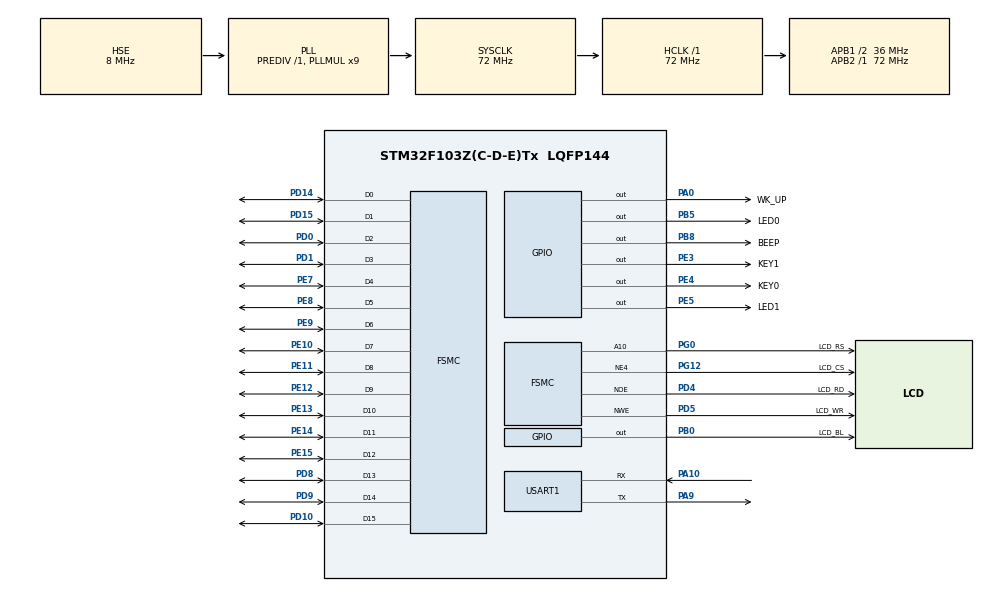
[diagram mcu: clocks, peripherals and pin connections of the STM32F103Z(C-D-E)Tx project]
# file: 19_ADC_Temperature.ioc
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ADC1.Channel-0\#ChannelRegularConversion=ADC_CHANNEL_TEMPSENSOR
ADC1.NbrOfConversionFlag=1
ADC1.Rank-0\#ChannelRegularConversion=1
ADC1.SamplingTime-0\#ChannelRegularConversion=ADC_SAMPLETIME_239CYCLES_5
ADC1.master=1
FSMC.AddressSetupTime1=0
FSMC.BusTurnAroundDuration1=15
FSMC.DataSetupTime1=15
FSMC.ExtendedAddressSetupTime1=0
FSMC.ExtendedDataSetupTime1=1
FSMC.ExtendedMode1=FSMC_EXTENDED_MODE_ENABLE
Mcu.Family=STM32F1
Mcu.Name=STM32F103Z(C-D-E)Tx
Mcu.Package=LQFP144
NVIC.PriorityGroup=NVIC_PRIORITYGROUP_2
NVIC.USART1_IRQn=true\:2\:2\:true\:false\:true\:true\:true\:true
OSC_IN.Mode=HSE-External-Oscillator
OSC_IN.Signal=RCC_OSC_IN
OSC_OUT.Mode=HSE-External-Oscillator
OSC_OUT.Signal=RCC_OSC_OUT
PA0-WKUP.GPIO_Label=WK_UP
PA0-WKUP.GPIO_PuPd=GPIO_PULLDOWN
PA0-WKUP.GPIO_Speed=GPIO_SPEED_FREQ_HIGH
PA0-WKUP.PinState=GPIO_PIN_RESET
PA0-WKUP.Signal=GPIO_Output
PA10.Mode=Asynchronous
PA10.Signal=USART1_RX
PA13.Mode=Serial_Wire
PA13.Signal=SYS_JTMS-SWDIO
PA14.Mode=Serial_Wire
PA14.Signal=SYS_JTCK-SWCLK
PA9.Mode=Asynchronous
PA9.Signal=USART1_TX
PB0.GPIO_Label=LCD_BL
PB0.GPIO_PuPd=GPIO_PULLUP
PB0.GPIO_Speed=GPIO_SPEED_FREQ_HIGH
PB0.PinState=GPIO_PIN_SET
PB0.Signal=GPIO_Output
PB5.GPIO_Label=LED0
PB5.GPIO_PuPd=GPIO_PULLUP
PB5.GPIO_Speed=GPIO_SPEED_FREQ_HIGH
PB5.PinState=GPIO_PIN_SET
PB5.Signal=GPIO_Output
PB8.GPIO_Label=BEEP
PB8.GPIO_ModeDefaultOutputPP=GPIO_MODE_OUTPUT_PP
PB8.GPIO_PuPd=GPIO_PULLDOWN
PB8.GPIO_Speed=GPIO_SPEED_FREQ_HIGH
PB8.PinState=GPIO_PIN_RESET
PB8.Signal=GPIO_Output
PC14-OSC32_IN.Mode=LSE-External-Oscillator
PC14-OSC32_IN.Signal=RCC_OSC32_IN
PC15-OSC32_OUT.Mode=LSE-External-Oscillator
PC15-OSC32_OUT.Signal=RCC_OSC32_OUT
PD0.Signal=FSMC_D2_DA2
PD1.Signal=FSMC_D3_DA3
PD10.Signal=FSMC_D15_DA15
PD14.Signal=FSMC_D0_DA0
PD15.Signal=FSMC_D1_DA1
PD4.GPIO_Label=LCD_RD
PD4.Signal=FSMC_NOE
PD5.GPIO_Label=LCD_WR
PD5.Signal=FSMC_NWE
PD8.Signal=FSMC_D13_DA13
PD9.Signal=FSMC_D14_DA14
PE10.Signal=FSMC_D7_DA7
PE11.Signal=FSMC_D8_DA8
PE12.Signal=FSMC_D9_DA9
PE13.Signal=FSMC_D10_DA10
PE14.Signal=FSMC_D11_DA11
PE15.Signal=FSMC_D12_DA12
PE3.GPIO_Label=KEY1
PE3.GPIO_PuPd=GPIO_PULLUP
PE3.GPIO_Speed=GPIO_SPEED_FREQ_HIGH
PE3.PinState=GPIO_PIN_SET
PE3.Signal=GPIO_Output
PE4.GPIO_Label=KEY0
PE4.GPIO_PuPd=GPIO_PULLUP
PE4.GPIO_Speed=GPIO_SPEED_FREQ_HIGH
PE4.PinState=GPIO_PIN_SET
PE4.Signal=GPIO_Output
PE5.GPIO_Label=LED1
PE5.GPIO_PuPd=GPIO_PULLUP
PE5.GPIO_Speed=GPIO_SPEED_FREQ_HIGH
PE5.PinState=GPIO_PIN_SET
PE5.Signal=GPIO_Output
PE7.Signal=FSMC_D4_DA4
PE8.Signal=FSMC_D5_DA5
PE9.Signal=FSMC_D6_DA6
PG0.GPIO_Label=LCD_RS
PG0.Signal=FSMC_A10
PG12.GPIO_Label=LCD_CS
PG12.Mode=NorPsramChipSelect4_1
PG12.Signal=FSMC_NE4
ProjectManager.HeapSize=0x200
ProjectManager.StackSize=0x400
ProjectManager.TargetToolchain=STM32CubeIDE
RCC.ADCPresc=RCC_ADCPCLK2_DIV6
RCC.AHBFreq_Value=72000000
RCC.APB1CLKDivider=RCC_HCLK_DIV2
RCC.APB1Freq_Value=36000000
RCC.APB1TimFreq_Value=72000000
RCC.APB2Freq_Value=72000000
RCC.APB2TimFreq_Value=72000000
RCC.HCLKFreq_Value=72000000
RCC.PLLMUL=RCC_PLL_MUL9
RCC.PLLSourceVirtual=RCC_PLLSOURCE_HSE
RCC.SYSCLKFreq_VALUE=72000000
RCC.SYSCLKSource=RCC_SYSCLKSOURCE_PLLCLK
RCC.USBFreq_Value=72000000
SH.FSMC_A10.0=FSMC_A10,A10_1
SH.FSMC_D0_DA0.0=FSMC_D0,16b-d1
SH.FSMC_D10_DA10.0=FSMC_D10,16b-d1
SH.FSMC_D11_DA11.0=FSMC_D11,16b-d1
SH.FSMC_D12_DA12.0=FSMC_D12,16b-d1
SH.FSMC_D13_DA13.0=FSMC_D13,16b-d1
SH.FSMC_D14_DA14.0=FSMC_D14,16b-d1
SH.FSMC_D15_DA15.0=FSMC_D15,16b-d1
SH.FSMC_D1_DA1.0=FSMC_D1,16b-d1
SH.FSMC_D2_DA2.0=FSMC_D2,16b-d1
SH.FSMC_D3_DA3.0=FSMC_D3,16b-d1
SH.FSMC_D4_DA4.0=FSMC_D4,16b-d1
SH.FSMC_D5_DA5.0=FSMC_D5,16b-d1
SH.FSMC_D6_DA6.0=FSMC_D6,16b-d1
SH.FSMC_D7_DA7.0=FSMC_D7,16b-d1
SH.FSMC_D8_DA8.0=FSMC_D8,16b-d1
SH.FSMC_D9_DA9.0=FSMC_D9,16b-d1
SH.FSMC_NOE.0=FSMC_NOE,Lcd1
SH.FSMC_NWE.0=FSMC_NWE,Lcd1
USART1.VirtualMode=VM_ASYNC
VP_ADC1_TempSens_Input.Mode=IN-TempSens
board=custom

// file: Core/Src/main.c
/* USER CODE BEGIN Header */

/* USER CODE END Header */
#include "main.h"
#include "adc.h"
#include "usart.h"
#include "gpio.h"
#include "fsmc.h"

/* USER CODE BEGIN Includes */
#include "../../BSP/LED/led.h"
#include "../../BSP/KEY/key.h"
#include "../../BSP/LCD/lcd.h"
#include "../../SYSTEM/delay/delay.h"
/* USER CODE END Includes */

void SystemClock_Config(void);

int main(void)
{
  /* USER CODE BEGIN 1 */
  short temp;
  /* USER CODE END 1 */

  /* MCU Configuration--------------------------------------------------------*/

  /* Reset of all peripherals, Initializes the Flash interface and the Systick. */
  HAL_Init();

  /* Configure the system clock */
  SystemClock_Config();

  /* USER CODE BEGIN SysInit */
  delay_init(72);						   /* 初始化延时函数 */
  /* USER CODE END SysInit */

  /* Initialize all configured peripherals */
  MX_GPIO_Init();
  MX_FSMC_Init();
  MX_USART1_UART_Init();
  MX_ADC1_Init();
  /* USER CODE BEGIN 2 */
  lcd_init();                                         /* 初始化LCD */
  lcd_show_string(30,  50, 200, 16, 16, "STM32", RED);
  lcd_show_string(30,  70, 200, 16, 16, "Temperature TEST", RED);
  lcd_show_string(30,  90, 200, 16, 16, "ATOM@ALIENTEK", RED);
  lcd_show_string(30, 120, 200, 16, 16, "TEMPERATE: 00.00C", BLUE);
  /* USER CODE END 2 */

  /* Infinite loop */
  /* USER CODE BEGIN WHILE */
  while (1)
  {
	  temp = adc_get_temperature();   /* 得到温度值 */

	  if (temp < 0)
	  {
		  temp = -temp;
		  lcd_show_string(30 + 10 * 8, 120, 16, 16, 16, "-", BLUE);   /* 显示负号 */
	  }
	  else
	  {
		  lcd_show_string(30 + 10 * 8, 120, 16, 16, 16, " ", BLUE);   /* 无符号 */
	  }
	  lcd_show_xnum(30 + 11 * 8, 120, temp / 100, 2, 16, 0, BLUE);    /* 显示整数部分 */
	  lcd_show_xnum(30 + 14 * 8, 120, temp % 100, 2, 16, 0X80, BLUE); /* 显示小数部分 */

	  LED0_TOGGLE();  /* LED0闪烁,提示程序运行 */
	  delay_ms(250);

    /* USER CODE END WHILE */

  }
}

void SystemClock_Config(void)
{
  RCC_OscInitTypeDef RCC_OscInitStruct = {0};
  RCC_ClkInitTypeDef RCC_ClkInitStruct = {0};
  RCC_PeriphCLKInitTypeDef PeriphClkInit = {0};

  /** Initializes the RCC Oscillators according to the specified parameters
  * in the RCC_OscInitTypeDef structure.
  */
  RCC_OscInitStruct.OscillatorType = RCC_OSCILLATORTYPE_HSE;
  RCC_OscInitStruct.HSEState = RCC_HSE_ON;
  RCC_OscInitStruct.HSEPredivValue = RCC_HSE_PREDIV_DIV1;
  RCC_OscInitStruct.HSIState = RCC_HSI_ON;
  RCC_OscInitStruct.PLL.PLLState = RCC_PLL_ON;
  RCC_OscInitStruct.PLL.PLLSource = RCC_PLLSOURCE_HSE;
  RCC_OscInitStruct.PLL.PLLMUL = RCC_PLL_MUL9;
  if (HAL_RCC_OscConfig(&RCC_OscInitStruct) != HAL_OK)
  {
    Error_Handler();
  }

  /** Initializes the CPU, AHB and APB buses clocks
  */
  RCC_ClkInitStruct.ClockType = RCC_CLOCKTYPE_HCLK|RCC_CLOCKTYPE_SYSCLK
                              |RCC_CLOCKTYPE_PCLK1|RCC_CLOCKTYPE_PCLK2;
  RCC_ClkInitStruct.SYSCLKSource = RCC_SYSCLKSOURCE_PLLCLK;
  RCC_ClkInitStruct.AHBCLKDivider = RCC_SYSCLK_DIV1;
  RCC_ClkInitStruct.APB1CLKDivider = RCC_HCLK_DIV2;
  RCC_ClkInitStruct.APB2CLKDivider = RCC_HCLK_DIV1;

  if (HAL_RCC_ClockConfig(&RCC_ClkInitStruct, FLASH_LATENCY_2) != HAL_OK)
  {
    Error_Handler();
  }
  PeriphClkInit.PeriphClockSelection = RCC_PERIPHCLK_ADC;
  PeriphClkInit.AdcClockSelection = RCC_ADCPCLK2_DIV6;
  if (HAL_RCCEx_PeriphCLKConfig(&PeriphClkInit) != HAL_OK)
  {
    Error_Handler();
  }
}

void Error_Handler(void)
{
  __disable_irq();
  while (1)
  {
  }
}
